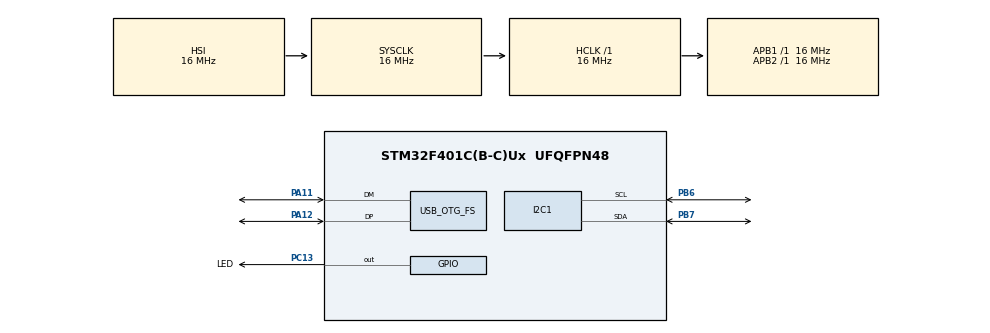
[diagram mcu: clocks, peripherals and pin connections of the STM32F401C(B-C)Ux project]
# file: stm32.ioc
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I2C1.GeneralCallMode=I2C_GENERALCALL_DISABLE
I2C1.I2C_Mode=I2C_Fast
I2C1.OwnAddress=0
Mcu.Family=STM32F4
Mcu.Name=STM32F401C(B-C)Ux
Mcu.Package=UFQFPN48
NVIC.I2C1_ER_IRQn=true\:0\:0\:false\:false\:true\:true\:true\:true
NVIC.I2C1_EV_IRQn=true\:0\:0\:false\:false\:true\:true\:true\:true
NVIC.OTG_FS_IRQn=true\:0\:0\:false\:false\:true\:false\:true\:true
NVIC.PriorityGroup=NVIC_PRIORITYGROUP_4
NVIC.TIM3_IRQn=true\:0\:0\:false\:false\:true\:true\:true\:true
PA11.Mode=Device_Only
PA11.Signal=USB_OTG_FS_DM
PA12.Mode=Device_Only
PA12.Signal=USB_OTG_FS_DP
PB6.GPIO_Pu=GPIO_PULLUP
PB6.Mode=I2C
PB6.Signal=I2C1_SCL
PB7.GPIO_Pu=GPIO_PULLUP
PB7.Mode=I2C
PB7.Signal=I2C1_SDA
PC13-ANTI_TAMP.GPIO_Label=LED
PC13-ANTI_TAMP.GPIO_ModeDefaultOutputPP=GPIO_MODE_OUTPUT_PP
PC13-ANTI_TAMP.PinState=GPIO_PIN_RESET
PC13-ANTI_TAMP.Signal=GPIO_Output
PH0\ -\ OSC_IN.Mode=HSE-External-Oscillator
PH0\ -\ OSC_IN.Signal=RCC_OSC_IN
PH1\ -\ OSC_OUT.Mode=HSE-External-Oscillator
PH1\ -\ OSC_OUT.Signal=RCC_OSC_OUT
ProjectManager.HeapSize=0x600
ProjectManager.StackSize=0x400
ProjectManager.TargetToolchain=STM32CubeIDE
RCC.48MHZClocksFreq_Value=48000000
RCC.AHBFreq_Value=16000000
RCC.APB1Freq_Value=16000000
RCC.APB2Freq_Value=16000000
RCC.CortexFreq_Value=16000000
RCC.HSE_VALUE=25000000
RCC.HSI_VALUE=16000000
RCC.LSE_VALUE=32768
RCC.PLLM=15
RCC.PLLN=144
RCC.PLLQ=5
RCC.SYSCLKFreq_VALUE=16000000
RCC.VCOOutputFreq_Value=240000000
TIM3.Period=15999
TIM3.Prescaler=0
USB_DEVICE.CLASS_NAME_FS=CDC
USB_DEVICE.VirtualMode=Cdc
USB_DEVICE.VirtualModeFS=Cdc_FS
USB_OTG_FS.VirtualMode=Device_Only
VP_TIM3_VS_ClockSourceINT.Mode=Internal
VP_USB_DEVICE_VS_USB_DEVICE_CDC_FS.Mode=CDC_FS
board=custom

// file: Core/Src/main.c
/* USER CODE BEGIN Header */
/**
  ******************************************************************************
  * @file           : main.c
  * @brief          : Main program body
  ******************************************************************************
  * @attention
  *
  * Copyright (c) 2024 STMicroelectronics.
  * All rights reserved.
  *
  * This software is licensed under terms that can be found in the LICENSE file
  * in the root directory of this software component.
  * If no LICENSE file comes with this software, it is provided AS-IS.
  *
  ******************************************************************************
  */
/* USER CODE END Header */
#include "main.h"
#include "usb_device.h"

/* USER CODE BEGIN Includes */
#include "arm_math.h"
#include <stdio.h>
#include "usbd_cdc_if.h"
/* USER CODE END Includes */

/* USER CODE BEGIN PD */

const float32_t FIR_COEFFICIENTS[FIR_TAPS] = {0.000000000000000000, -0.000025695329810175, -0.000109001586731170, -0.000261383834469497, -0.000497284187006939, -0.000834034055775751, -0.001291444409523049, -0.001891070645768172, -0.002655173095064218, -0.003605418278370960, -0.004761388110941483, -0.006138982684280025, -0.007748815659053334, -0.009594708572398906, -0.011672390798343837, -0.013968505240990876, -0.016460006299700354, -0.019114016903342568, -0.021888186575993940, -0.024731564041054279, -0.027585967536853457, -0.030387805705078649, -0.033070273559075519, -0.035565823484471772, -0.037808792095928072, -0.039738051371860414, -0.041299547699896848, -0.042448595699213505, -0.043151804843812071, 0.956611464609619988, -0.043151804843812071, -0.042448595699213505, -0.041299547699896848, -0.039738051371860407, -0.037808792095928072, -0.035565823484471785, -0.033070273559075540, -0.030387805705078645, -0.027585967536853460, -0.024731564041054296, -0.021888186575993951, -0.019114016903342579, -0.016460006299700354, -0.013968505240990888, -0.011672390798343854, -0.009594708572398910, -0.007748815659053343, -0.006138982684280031, -0.004761388110941481, -0.003605418278370961, -0.002655173095064216, -0.001891070645768171, -0.001291444409523047, -0.000834034055775751, -0.000497284187006940, -0.000261383834469497, -0.000109001586731170, -0.000025695329810175, 0.000000000000000000};
MPU_DATA rawdata = {0,0,0,0,0,0};
MPU_DATA filtereddata = {0,0,0,0,0,0};
MPU_DATA posData = {0, 0, 0, 0,0,0};
MPU_DATA velData = {0,0,0,0,0,0};

struct sample samples;

struct FIRstruct FIR;
/* USER CODE END PD */

I2C_HandleTypeDef hi2c1;

TIM_HandleTypeDef htim3;

void SystemClock_Config(void);
static void MX_GPIO_Init(void);
static void MX_I2C1_Init(void);
static void MX_TIM3_Init(void);

int main(void)
{

  /* MCU Configuration--------------------------------------------------------*/

  /* Reset of all peripherals, Initializes the Flash interface and the Systick. */
  HAL_Init();

  /* Configure the system clock */
  SystemClock_Config();

  /* Initialize all configured peripherals */
  MX_GPIO_Init();
  MX_I2C1_Init();
  MX_USB_DEVICE_Init();
  MX_TIM3_Init();
  /* USER CODE BEGIN 2 */
    HAL_GPIO_TogglePin(LED_GPIO_Port, LED_Pin);

    arm_fir_init_f32(&FIR.ACCx, FIR_TAPS, &FIR_COEFFICIENTS[0], &samples.ACCx[0],1);
    arm_fir_init_f32(&FIR.ACCy, FIR_TAPS, &FIR_COEFFICIENTS[0], &samples.ACCy[0],1);
    arm_fir_init_f32(&FIR.ACCz, FIR_TAPS, &FIR_COEFFICIENTS[0], &samples.ACCz[0],1);

    MPU_StartUp(&hi2c1);
    MPU_Init(&hi2c1);

    HAL_TIM_Base_Start_IT(&htim3);

  /* USER CODE END 2 */

  /* Infinite loop */
  while (1)
  {
      char msg[64];
      sprintf(msg,"\r\nX%.2f\tY%.2f",filtereddata.ACCX, rawdata.ACCX);
      CDC_Transmit_FS(msg, 64);
      HAL_Delay(100);
  }
}

void SystemClock_Config(void)
{
  RCC_OscInitTypeDef RCC_OscInitStruct = {0};
  RCC_ClkInitTypeDef RCC_ClkInitStruct = {0};

  /** Configure the main internal regulator output voltage
  */
  __HAL_RCC_PWR_CLK_ENABLE();
  __HAL_PWR_VOLTAGESCALING_CONFIG(PWR_REGULATOR_VOLTAGE_SCALE2);

  /** Initializes the RCC Oscillators according to the specified parameters
  * in the RCC_OscInitTypeDef structure.
  */
  RCC_OscInitStruct.OscillatorType = RCC_OSCILLATORTYPE_HSI|RCC_OSCILLATORTYPE_HSE;
  RCC_OscInitStruct.HSEState = RCC_HSE_ON;
  RCC_OscInitStruct.HSIState = RCC_HSI_ON;
  RCC_OscInitStruct.HSICalibrationValue = RCC_HSICALIBRATION_DEFAULT;
  RCC_OscInitStruct.PLL.PLLState = RCC_PLL_ON;
  RCC_OscInitStruct.PLL.PLLSource = RCC_PLLSOURCE_HSE;
  RCC_OscInitStruct.PLL.PLLM = 15;
  RCC_OscInitStruct.PLL.PLLN = 144;
  RCC_OscInitStruct.PLL.PLLP = RCC_PLLP_DIV2;
  RCC_OscInitStruct.PLL.PLLQ = 5;
  if (HAL_RCC_OscConfig(&RCC_OscInitStruct) != HAL_OK)
  {
    Error_Handler();
  }

  /** Initializes the CPU, AHB and APB buses clocks
  */
  RCC_ClkInitStruct.ClockType = RCC_CLOCKTYPE_HCLK|RCC_CLOCKTYPE_SYSCLK
                              |RCC_CLOCKTYPE_PCLK1|RCC_CLOCKTYPE_PCLK2;
  RCC_ClkInitStruct.SYSCLKSource = RCC_SYSCLKSOURCE_HSI;
  RCC_ClkInitStruct.AHBCLKDivider = RCC_SYSCLK_DIV1;
  RCC_ClkInitStruct.APB1CLKDivider = RCC_HCLK_DIV1;
  RCC_ClkInitStruct.APB2CLKDivider = RCC_HCLK_DIV1;

  if (HAL_RCC_ClockConfig(&RCC_ClkInitStruct, FLASH_LATENCY_0) != HAL_OK)
  {
    Error_Handler();
  }
}

static void MX_I2C1_Init(void)
{

  hi2c1.Instance = I2C1;
  hi2c1.Init.ClockSpeed = 400000;
  hi2c1.Init.DutyCycle = I2C_DUTYCYCLE_2;
  hi2c1.Init.OwnAddress1 = 0;
  hi2c1.Init.AddressingMode = I2C_ADDRESSINGMODE_7BIT;
  hi2c1.Init.DualAddressMode = I2C_DUALADDRESS_DISABLE;
  hi2c1.Init.OwnAddress2 = 0;
  hi2c1.Init.GeneralCallMode = I2C_GENERALCALL_DISABLE;
  hi2c1.Init.NoStretchMode = I2C_NOSTRETCH_DISABLE;
  if (HAL_I2C_Init(&hi2c1) != HAL_OK)
  {
    Error_Handler();
  }

}

static void MX_TIM3_Init(void)
{

  TIM_ClockConfigTypeDef sClockSourceConfig = {0};
  TIM_MasterConfigTypeDef sMasterConfig = {0};

  htim3.Instance = TIM3;
  htim3.Init.Prescaler = 0;
  htim3.Init.CounterMode = TIM_COUNTERMODE_UP;
  htim3.Init.Period = 15999;
  htim3.Init.ClockDivision = TIM_CLOCKDIVISION_DIV1;
  htim3.Init.AutoReloadPreload = TIM_AUTORELOAD_PRELOAD_DISABLE;
  if (HAL_TIM_Base_Init(&htim3) != HAL_OK)
  {
    Error_Handler();
  }
  sClockSourceConfig.ClockSource = TIM_CLOCKSOURCE_INTERNAL;
  if (HAL_TIM_ConfigClockSource(&htim3, &sClockSourceConfig) != HAL_OK)
  {
    Error_Handler();
  }
  sMasterConfig.MasterOutputTrigger = TIM_TRGO_RESET;
  sMasterConfig.MasterSlaveMode = TIM_MASTERSLAVEMODE_DISABLE;
  if (HAL_TIMEx_MasterConfigSynchronization(&htim3, &sMasterConfig) != HAL_OK)
  {
    Error_Handler();
  }

}

static void MX_GPIO_Init(void)
{
  GPIO_InitTypeDef GPIO_InitStruct = {0};

  /* GPIO Ports Clock Enable */
  __HAL_RCC_GPIOC_CLK_ENABLE();
  __HAL_RCC_GPIOH_CLK_ENABLE();
  __HAL_RCC_GPIOA_CLK_ENABLE();
  __HAL_RCC_GPIOB_CLK_ENABLE();

  /*Configure GPIO pin Output Level */
  HAL_GPIO_WritePin(LED_GPIO_Port, LED_Pin, GPIO_PIN_RESET);

  /*Configure GPIO pin : LED_Pin */
  GPIO_InitStruct.Pin = LED_Pin;
  GPIO_InitStruct.Mode = GPIO_MODE_OUTPUT_PP;
  GPIO_InitStruct.Pull = GPIO_NOPULL;
  GPIO_InitStruct.Speed = GPIO_SPEED_FREQ_LOW;
  HAL_GPIO_Init(LED_GPIO_Port, &GPIO_InitStruct);

}

void Error_Handler(void)
{
  __disable_irq();
  while (1)
  {
  }
}
